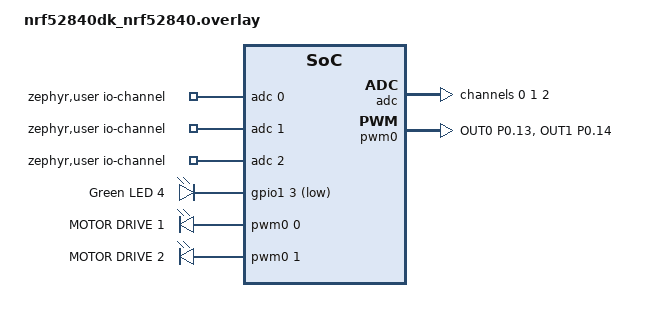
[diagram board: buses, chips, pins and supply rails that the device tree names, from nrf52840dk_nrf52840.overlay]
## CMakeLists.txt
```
# SPDX-License-Identifier: Apache-2.0

cmake_minimum_required(VERSION 3.20.0)

find_package(Zephyr REQUIRED HINTS $ENV{ZEPHYR_BASE})
project(hello_world)

target_sources(app PRIVATE src/main.c src/bt.c)
```

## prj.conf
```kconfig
CONFIG_GPIO=y
CONFIG_LOG=y
CONFIG_ADC=y
CONFIG_CBPRINTF_FP_SUPPORT=y
CONFIG_PWM=y
CONFIG_ADC_NRFX_SAADC=y
# BLE
CONFIG_BT=y
CONFIG_BT_PERIPHERAL=y
CONFIG_BT_DEVICE_NAME="Tim_590Final"
CONFIG_BT_DEVICE_APPEARANCE=0
CONFIG_BT_MAX_CONN=1
CONFIG_BT_LL_SOFTDEVICE=y
CONFIG_BT_BAS=y 
CONFIG_BT_SETTINGS=y
CONFIG_SETTINGS_RUNTIME=y
CONFIG_SETTINGS=y
CONFIG_SETTINGS_NONE=y
CONFIG_BT_DIS=y 
CONFIG_BT_DIS_SETTINGS=y
CONFIG_BT_DIS_STR_MAX=25 
CONFIG_BT_DIS_MODEL="Tim_590"
CONFIG_BT_DIS_MANUF="Tim_590"
CONFIG_BT_DIS_SERIAL_NUMBER=y
CONFIG_BT_DIS_SERIAL_NUMBER_STR="0001" 
CONFIG_BT_DIS_FW_REV=y
CONFIG_BT_DIS_FW_REV_STR="0.9.0" 
CONFIG_BT_DIS_HW_REV=y
CONFIG_BT_DIS_HW_REV_STR="0.9.0" 
CONFIG_BT_DIS_SW_REV=y
CONFIG_BT_DIS_SW_REV_STR="0.9.0" 
CONFIG_BT_DIS_PNP=y 
CONFIG_BT_DIS_PNP_VID_SRC=1
CONFIG_BT_DIS_PNP_VID=0x02DF 
```

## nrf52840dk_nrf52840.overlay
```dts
// To get started, press Ctrl+Space (or Option+Esc) to bring up the completion menu and view the available nodes.

// You can also use the buttons in the sidebar to perform actions on nodes.
// Actions currently available include:

// * Enabling / disabling the node
// * Adding the bus to a bus
// * Removing the node
// * Connecting ADC channels

// For more help, browse the DeviceTree documentation at https://docs.zephyrproject.org/latest/guides/dts/index.html
// You can also visit the nRF DeviceTree extension documentation at https://nrfconnect.github.io/vscode-nrf-connect/devicetree/nrfdevicetree.html

/ {
  aliases {
    vbat = &vbat;
    vslow = &vslow;
    vfast = &vfast;
    heartbeat= &led0;
    buzzer= &led1;
    ivdrip= &led2;
    button0= &button0;
    button1= &button1;
    drv1 = &drv1;
    drv2 = &drv2;
  };
  zephyr,user {
    io-channels = <&adc 0>, <&adc 1>, <&adc 2>; // need to "activate" these channels for IO usage
  };
  leds {
    compatible = "gpio-leds";
    led4: led_4 {        
      gpios = <&gpio1 3 GPIO_ACTIVE_LOW>;
      label = "Green LED 4";
    };
  };
  pwm_motor {
    compatible = "pwm-leds";
    drv1: drv_1 {
    pwms = < &pwm0 0 PWM_MSEC(1) PWM_POLARITY_INVERTED>; // 0 - channel
    label = "MOTOR DRIVE 1";
    };
    drv2: drv_2 {
    pwms = < &pwm0 1 PWM_MSEC(1) PWM_POLARITY_INVERTED>; // 1 - channel
    label = "MOTOR DRIVE 2";
    };
  };
};
&adc {
  #address-cells = <1>;
  #size-cells = <0>;

  vslow: channel@0 {
  reg = <0>; // channel number
  zephyr,reference = "ADC_REF_INTERNAL"; // voltage ref for SA (0.6 V)
  zephyr,gain = "ADC_GAIN_4"; // gain factor to scale ref voltage (1/gain)
  zephyr,acquisition-time = <ADC_ACQ_TIME_DEFAULT>;
  zephyr,input-positive = <NRF_SAADC_AIN0>; // P0.02
  zephyr,input-negative = <NRF_SAADC_AIN7>; // P0.31
  zephyr,resolution = <12>; // bit depth
  };
  vfast: channel@1 {
    reg = <1>; // channel number
    zephyr,reference = "ADC_REF_INTERNAL"; // voltage ref for SA (0.6 V)
    zephyr,gain = "ADC_GAIN_4"; // gain factor to scale ref voltage (1/gain)
    zephyr,acquisition-time = <ADC_ACQ_TIME_DEFAULT>;
    zephyr,input-positive = <NRF_SAADC_AIN5>; // P0.29
    zephyr,input-negative = <NRF_SAADC_AIN6>; // P0.30
    zephyr,resolution = <12>; // bit depth
  };
  vbat: channel@2 {
    reg = <2>; // channel number
    zephyr,reference = "ADC_REF_INTERNAL"; // voltage ref for SA (0.6 V)
    zephyr,gain = "ADC_GAIN_1_6"; // gain factor to scale ref voltage (1/gain)
    zephyr,acquisition-time = <ADC_ACQ_TIME_DEFAULT>;
    zephyr,input-positive = <NRF_SAADC_AIN4>; // P0.28
    zephyr,resolution = <12>; // bit depth
  };
  status = "okay"; // enable the ADC
};
&pwm0 {
  compatible = "nordic,nrf-pwm";
  reg = <0x4001c000 0x1000>;
  interrupts = <28 NRF_DEFAULT_IRQ_PRIORITY>;
  status = "okay";
  #pwm-cells = <3>;
  pinctrl-0 = <&pwm0_default>;
  pinctrl-1 = <&pwm0_sleep>;
  pinctrl-names = "default", "sleep";
};
&pinctrl {
  compatible = "nordic,nrf-pinctrl";
  status = "okay";
  pwm0_default: pwm0_default {
    group1 {
      psels = <NRF_PSEL(PWM_OUT0, 0, 13)>, // P0.13, channel 0
      <NRF_PSEL(PWM_OUT1, 0, 14)>; // P0.14, channel 1
      nordic,invert;
    };
  };
  pwm0_sleep: pwm0_sleep {
    group1 {
      psels = <NRF_PSEL(PWM_OUT0, 0, 13)>, // P0.13, channel 0
      <NRF_PSEL(PWM_OUT1, 0, 14)>; // P0.14, channel 1
      low-power-enable;
    };
  };
};
```

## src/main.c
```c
/*
 * Copyright (c) 2016 Intel Corporation
 *
 * SPDX-License-Identifier: Apache-2.0
 */

// load in the Zephyr library
#include <zephyr/kernel.h>
#include <zephyr/device.h>
#include <zephyr/devicetree.h>
#include <zephyr/drivers/gpio.h>
#include <zephyr/logging/log.h>
#include <zephyr/drivers/adc.h>
#include <zephyr/drivers/pwm.h>
#include <nrfx_power.h>
#include <math.h>

#include "bt.h"

LOG_MODULE_REGISTER(finalproject,LOG_LEVEL_DBG);

/* 1000 msec = 1 sec */
#define ONE_HZ 500
#define FIVE_HZ 100
#define ONE_TO_FIVE_DIFF_HZ 400
#define FIVE_TO_TEN_DIFF_HZ 50
#define FIFTY_MV 50
#define ONE_FIFTY_MV 150
#define NUM_MEASUREMENT_PTS 5
#define WINDOW_SIZE 1000
#define ONE_SEC 1000
#define NOMINAL_BATTERY_VOLT_MV 3700
#define TEN_SEC 10000

#define ADC_DT_SPEC_GET_BY_ALIAS(node_id)                    \
{                                                            \
  .dev = DEVICE_DT_GET(DT_PARENT(DT_ALIAS(node_id))),        \
  .channel_id = DT_REG_ADDR(DT_ALIAS(node_id)),              \
  ADC_CHANNEL_CFG_FROM_DT_NODE(DT_ALIAS(node_id))            \
}                                                            \

#define DT_SPEC_AND_COMMA(node_id, prop, idx)                \
	      ADC_DT_SPEC_GET_BY_IDX(node_id, idx),

// define structs based on DT aliases

/* Declarations */


void fixed_hb(struct k_timer *heartbeats);
void button0_pressed(const struct device *dev, struct gpio_callback *cb, uint32_t pins);
void button1_pressed(const struct device *dev, struct gpio_callback *cb, uint32_t pins);
int check_vbus(void);
void on_data_rx(struct bt_conn *conn, const uint8_t *const data, uint16_t len);
void on_connected(struct bt_conn *conn, uint8_t ret);
void on_disconnected(struct bt_conn *conn, uint8_t reason);
void on_notif_changed(enum bt_data_notifications_enabled status);

/* ADC channels (specified in DT overlay) */
static const struct adc_dt_spec adc_vslow = ADC_DT_SPEC_GET_BY_ALIAS(vslow);
static const struct adc_dt_spec adc_vfast = ADC_DT_SPEC_GET_BY_ALIAS(vfast);
static const struct adc_dt_spec adc_vbat = ADC_DT_SPEC_GET_BY_ALIAS(vbat);

/* Bluetooth */
static struct bt_conn *current_conn;

struct bt_conn_cb bluetooth_callbacks = {
  .connected = on_connected,
  .disconnected = on_disconnected,
};
struct bt_remote_srv_cb remote_service_callbacks = {
  .notif_changed = on_notif_changed,
  .data_rx = on_data_rx,
};

/* LEDs */
#define HB_NODE	DT_ALIAS(heartbeat)
static const struct gpio_dt_spec hb = GPIO_DT_SPEC_GET(HB_NODE, gpios);
#define BZ_NODE	DT_ALIAS(buzzer)
static const struct gpio_dt_spec bz = GPIO_DT_SPEC_GET(BZ_NODE, gpios);
#define IV_NODE	DT_ALIAS(ivdrip)
static const struct gpio_dt_spec iv = GPIO_DT_SPEC_GET(IV_NODE, gpios);

/* Buttons */
#define BUTTON0_NODE	DT_ALIAS(button0) 
static const struct gpio_dt_spec butt0 = GPIO_DT_SPEC_GET(BUTTON0_NODE, gpios);
#define BUTTON1_NODE	DT_ALIAS(button1) 
static const struct gpio_dt_spec butt1 = GPIO_DT_SPEC_GET(BUTTON1_NODE, gpios);

/* PWM */
static const struct pwm_dt_spec mtr_drv1 = PWM_DT_SPEC_GET(DT_ALIAS(drv1));
static const struct pwm_dt_spec mtr_drv2 = PWM_DT_SPEC_GET(DT_ALIAS(drv2));

//global variables
static int32_t val_mv_slow = 0;
static int32_t val_mv_fast = 0;
static int32_t val_mv_bat = 0;
static bool usbregstatus;
static uint8_t battery_level;
static uint8_t slow_data[NUM_MEASUREMENT_PTS] = {0};
static uint8_t fast_data[NUM_MEASUREMENT_PTS] = {0};
static int slow_queue[WINDOW_SIZE] = {0};
static int fast_queue[WINDOW_SIZE] = {0};
float slow_rms_window = 0;
float fast_rms_window = 0;

int rms_window_count = 0;
int data_count = 0;
bool full = 0;
int full_inc = 0;


/* Callbacks */
//timer for heartbeat
void fixed_hb(struct k_timer *heartbeats)
{
  gpio_pin_toggle_dt(&iv);
}
K_TIMER_DEFINE(heartbeats, fixed_hb, NULL);

//timer to save 5 sec of RMS data
void collect_data(struct k_timer *collect)
{
    if (data_count > 4) {data_count = 0;}
    if (full == 0){
        slow_data[data_count] = sqrt(slow_rms_window / rms_window_count);
        fast_data[data_count] = sqrt(fast_rms_window / rms_window_count);
        data_count += 1;
      }
      else{
        slow_data[data_count] = sqrt(slow_rms_window /  WINDOW_SIZE);
        fast_data[data_count] = sqrt(fast_rms_window / WINDOW_SIZE);
        data_count += 1;
      }
    // printf("%f ", sqrt(slow_rms_window / WINDOW_SIZE * 2));
    // printf("%f ", sqrt(fast_rms_window / WINDOW_SIZE * 2));
    // for (int i = 0; i < NUM_MEASUREMENT_PTS; i++)
    //   printf("%d - ", slow_data[i]);
}
K_TIMER_DEFINE(collect, collect_data, NULL);

/* Start timer to save 5 sec worth of data for each sinusoidal input*/
void button0_pressed(const struct device *dev, struct gpio_callback *cb, uint32_t pins)
{
  k_timer_start(&collect, K_MSEC(ONE_SEC), K_MSEC(ONE_SEC));  
  data_count = 0;
}
static struct gpio_callback butt0_cb_data;

/* Bluetooh notification that the two data arrays are ready to cellphone*/
void button1_pressed(const struct device *dev, struct gpio_callback *cb, uint32_t pins)
{
    uint8_t merge_data[NUM_MEASUREMENT_PTS*2];
    int i, j;
    // copying array 1 elements into an array
    for (i = 0; i < NUM_MEASUREMENT_PTS; i++) {
        merge_data[i] = slow_data[i];
    }
    // copying array 2 elements into an array
    for (i = 0, j = NUM_MEASUREMENT_PTS;
         j < NUM_MEASUREMENT_PTS*2 && i < NUM_MEASUREMENT_PTS; i++, j++) {
        merge_data[j] = fast_data[i];
    }
  set_compliance_data(merge_data);
  int err;
  // send a notification that "data" is ready to be read...
  err = send_data_notification(current_conn, merge_data, 10);
  if (err) {
    LOG_ERR("Could not send BT notification (err: %d)", err);
  }
  else {
    LOG_INF("BT data transmitted.");
  }
}
static struct gpio_callback butt1_cb_data;

//bluetooth callbacks
void on_data_rx(struct bt_conn *conn, const uint8_t *const data, uint16_t len)
{
  uint8_t temp_str[len+1];
  memcpy(temp_str, data, len);
  temp_str[len] = 0x00; // manually append NULL character at the end
  LOG_INF("BT received data on conn %p. Len: %d", (void *)conn, len);
  LOG_INF("Data: %s", temp_str);
}
void on_connected(struct bt_conn *conn, uint8_t ret)
{
  if (ret) { LOG_ERR("Connection error: %d", ret); }
  LOG_INF("BT connected");
  current_conn = bt_conn_ref(conn);
}
void on_disconnected(struct bt_conn *conn, uint8_t reason)
{
  LOG_INF("BT disconnected (reason: %d)", reason);
  if (current_conn) {
    bt_conn_unref(current_conn);
    current_conn = NULL;
  }
}
void on_notif_changed(enum bt_data_notifications_enabled status)
{
  if (status == BT_DATA_NOTIFICATIONS_ENABLED) {
    LOG_INF("BT notifications enabled");
  }
  else {
    LOG_INF("BT notifications disabled");
  }
}

/* check battery levels */
void check_battery_level(struct k_timer *battery_check_timer) {
  bluetooth_set_battery_level(val_mv_bat, NOMINAL_BATTERY_VOLT_MV);
}
K_TIMER_DEFINE(battery_check_timer, check_battery_level, NULL);

/* check VBUS*/
int check_vbus() {
  /* check for voltage on VBUS (USB-C charging cable attached)
  Returns:
  0 - VBUS not detected
  -1 - VBUS detected (need to kill device function)
  */
  usbregstatus = nrf_power_usbregstatus_vbusdet_get(NRF_POWER);;
  if (usbregstatus) {
    LOG_ERR("VBUS voltage detected. Device cannot be operated while charging.");
    return -1;
  }
  else {
    //LOG_DBG("VBUS voltage checked and not detected.");
  }
  return 0;
}

/* Read ADCs */
int32_t read_adc_val_slow()
{
  /* Read adc channel 0*/
  int16_t buf;
  struct adc_sequence sequence = {
    .buffer = &buf,
    .buffer_size = sizeof(buf), // bytes
  };
  //LOG_INF("Measuring %s (channel %d)... ", adc_vslow.dev->name, adc_vslow.channel_id);
  (void)adc_sequence_init_dt(&adc_vslow, &sequence);
  int ret;
  ret = adc_read(adc_vslow.dev, &sequence);
  if (ret < 0) {
    LOG_ERR("Could not read (%d)", ret);
  } else {
    //LOG_DBG("Raw ADC Buffer: %d", buf);
  }
  int32_t val_mv;
  val_mv = buf;
  ret = adc_raw_to_millivolts_dt(&adc_vslow, &val_mv);
  if (ret < 0) {
    LOG_ERR("Buffer cannot be converted to mV; returning raw buffer value.");
  } else {
    // LOG_INF("AIN0 ADC Value (mV): %d", val_mv);
  }
  return val_mv;
}

int32_t read_adc_val_fast()
{
  /* Read adc channel 1*/
  int16_t buf;
  struct adc_sequence sequence = {
    .buffer = &buf,
    .buffer_size = sizeof(buf), // bytes
  };
  //LOG_INF("Measuring %s (channel %d)... ", adc_vfast.dev->name, adc_vfast.channel_id);
  (void)adc_sequence_init_dt(&adc_vfast, &sequence);
  int ret;
  ret = adc_read(adc_vfast.dev, &sequence);
  if (ret < 0) {
    LOG_ERR("Could not read (%d)", ret);
  } else {
    // LOG_DBG("Raw ADC Buffer: %d", buf);
  }
  int32_t val_mv;
  val_mv = buf;
  ret = adc_raw_to_millivolts_dt(&adc_vfast, &val_mv);
  if (ret < 0) {
    LOG_ERR("Buffer cannot be converted to mV; returning raw buffer value.");
  } else {
    //  LOG_INF("AIN1 ADC Value (mV): %d", val_mv);
  }
  return val_mv;
}

int32_t read_adc_val_bat()
{
  /* Read adc channel 1*/
  int16_t buf;
  struct adc_sequence sequence = {
    .buffer = &buf,
    .buffer_size = sizeof(buf), // bytes
  };
  (void)adc_sequence_init_dt(&adc_vbat, &sequence);
  int ret;
  ret = adc_read(adc_vbat.dev, &sequence);
  if (ret < 0) {
    LOG_ERR("Could not read (%d)", ret);
  } else {
    // LOG_DBG("Raw ADC Buffer: %d", buf);
  }
  int32_t val_mv;
  val_mv = buf;
  ret = adc_raw_to_millivolts_dt(&adc_vbat, &val_mv);
  if (ret < 0) {
    LOG_ERR("Buffer cannot be converted to mV; returning raw buffer value.");
  } else {
    //  LOG_INF("AIN1 ADC Value (mV): %d", val_mv);
  }
  return val_mv;
}

void main(void)
{
  int err;
  /**capture exit or error codes**/
  err = !device_is_ready(adc_vslow.dev);
  if (err){
    LOG_ERR("ADC controller device(s) not ready");
    return -1;
  }

  err = !device_is_ready(butt0.port);
  if (err) {
    LOG_ERR("gpio0 interface not ready.");
    return;
  }

  if (!device_is_ready(mtr_drv1.dev)) {
    LOG_ERR("PWM device %s is not ready.", mtr_drv1.dev->name);
    return -1;
  }

  /* Setup ADCs */
  err = adc_channel_setup_dt(&adc_vslow);
  if (err < 0) {
    LOG_ERR("Could not setup vslow ADC channel (%d)", err);
    return err;
  }

  err = adc_channel_setup_dt(&adc_vfast);
  if (err < 0) {
    LOG_ERR("Could not setup vfast ADC channel (%d)", err);
    return err;
  }

  err = adc_channel_setup_dt(&adc_vbat);
  if (err < 0) {
    LOG_ERR("Could not setup vfast ADC channel (%d)", err);
    return err;
  }

  /* Setup LEDs */
  err = gpio_pin_configure_dt(&hb, GPIO_OUTPUT_LOW);
	if (err < 0) {
		LOG_ERR("Cannot configure heartbeat led");
    return;
	}

  err = gpio_pin_configure_dt(&bz, GPIO_OUTPUT_LOW);
	if (err < 0) {
		LOG_ERR("Cannot configure buzzer led");
    return;
	}

  err = gpio_pin_configure_dt(&iv, GPIO_OUTPUT_LOW);
	if (err < 0) {
		LOG_ERR("Cannot configure ivdrip led");
    return;
	}

  /* Setup buttons */
  err = gpio_pin_configure_dt(&butt0, GPIO_INPUT);
	if (err < 0) {
    LOG_ERR("Cannot configure button0");
		return;
	}

  err = gpio_pin_configure_dt(&butt1, GPIO_INPUT);
	if (err < 0) {
    LOG_ERR("Cannot configure button1");
		return;
	}

  /* Initialize Bluetooth */
  err = bluetooth_init(&bluetooth_callbacks, &remote_service_callbacks);
  if (err) {
    LOG_ERR("BT init failed (err = %d)", err);
  }

  /* Setup callbacks */
  err = gpio_pin_interrupt_configure_dt(&butt0, GPIO_INT_EDGE_TO_ACTIVE );
  if (err < 0) {
    LOG_ERR("Cannot configure button0");
		return;
	}
  gpio_init_callback(&butt0_cb_data, button0_pressed, BIT(butt0.pin));
	gpio_add_callback(butt0.port, &butt0_cb_data);

  err = gpio_pin_interrupt_configure_dt(&butt1, GPIO_INT_EDGE_TO_ACTIVE );
  if (err < 0) {
    LOG_ERR("Cannot configure button1");
		return;
	}
  gpio_init_callback(&butt1_cb_data, button1_pressed, BIT(butt1.pin));
	gpio_add_callback(butt1.port, &butt1_cb_data);

  k_timer_start(&battery_check_timer, K_MSEC(TEN_SEC), K_MSEC(TEN_SEC));

  while (1) {
    //check for vbus
    int err ;
    err = check_vbus();
    if (err) {
      err = pwm_set_pulse_dt(&mtr_drv1, 0); 
      if (err) {
        //LOG_ERR("Could not set motor driver 1 (PWM0)");
      }
      err = pwm_set_pulse_dt(&mtr_drv2, 0);  
      if (err) {
        //LOG_ERR("Could not set motor driver 2 (PWM1)");
      }
      k_timer_start(&heartbeats, K_MSEC(ONE_HZ), K_MSEC(ONE_HZ));
      k_msleep(3*1000); //3 second delay
      k_timer_stop(&heartbeats);
    }
    else{
      /* loop to sample voltage reading and act accordingly */
      gpio_pin_set_dt(&iv, 0);
      //read voltage of channel 0 and 1
      val_mv_slow = read_adc_val_slow();
      val_mv_fast = read_adc_val_fast();
      val_mv_bat = read_adc_val_bat();
      
      /* implement RMS sliding window */

      if (rms_window_count > (WINDOW_SIZE - 1)) { full = 1; }
      if (full == 0){
        slow_rms_window = slow_rms_window + (float) val_mv_slow * val_mv_slow;
        fast_rms_window = fast_rms_window + (float) val_mv_fast * val_mv_fast;
        slow_queue[rms_window_count] = val_mv_slow * val_mv_slow;
        fast_queue[rms_window_count] = val_mv_fast * val_mv_fast;
        rms_window_count += 1;
      }
      else{
        if (full_inc > WINDOW_SIZE-1) { full_inc = 0; }
        slow_rms_window = slow_rms_window - (float) slow_queue[full_inc] + (float) val_mv_slow * val_mv_slow;
        fast_rms_window = fast_rms_window - (float) fast_queue[full_inc] + (float) val_mv_fast * val_mv_fast;
        slow_queue[full_inc] = (float) val_mv_slow * val_mv_slow;
        fast_queue[full_inc] = (float) val_mv_fast * val_mv_fast;
        full_inc += 1;
      }

      if (data_count > 4) {k_timer_stop(&collect);}
      //modulate LED1 brightness based on Vp-p
      err = pwm_set_pulse_dt(&mtr_drv1, mtr_drv1.period * (float) (sqrt(slow_rms_window / (float) WINDOW_SIZE * 2) - 5) / (FIFTY_MV - 5)); // % duty cycle based on Pk-to-pk voltage
      if (err) {
        //LOG_ERR("Could not set motor driver 1 (PWM0)");
      }

      //modulate LED2 brightness based on Vp-p
      err = pwm_set_pulse_dt(&mtr_drv2, mtr_drv2.period * (float) (sqrt(fast_rms_window/ (float) WINDOW_SIZE * 2) - 10) / (ONE_FIFTY_MV - 10)); // % duty cycle based on Pk-to-pk voltage
      if (err) {
        //LOG_ERR("Could not set motor driver 2 (PWM1)");
      }

      k_msleep(1); //1 msecond sampling
    }
	}
}
```

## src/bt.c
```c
#include "bt.h"

LOG_MODULE_REGISTER(bt,LOG_LEVEL_DBG);

static K_SEM_DEFINE(bt_init_ok, 1, 1); // blocking thread semaphore

#define DEVICE_NAME CONFIG_BT_DEVICE_NAME
#define DEVICE_NAME_LEN (sizeof(DEVICE_NAME)-1)
#define BLE_DATA_POINTS 10 // limited by MTU

static uint8_t compliance_data[BLE_DATA_POINTS] = {0};
static struct bt_remote_srv_cb remote_service_callbacks;
enum bt_data_notifications_enabled notifications_enabled;

/* Advertising data */
static const struct bt_data ad[] = {
  BT_DATA_BYTES(BT_DATA_FLAGS, (BT_LE_AD_GENERAL | BT_LE_AD_NO_BREDR)),
  BT_DATA(BT_DATA_NAME_COMPLETE, DEVICE_NAME, DEVICE_NAME_LEN)
};
/* Scan response data */
static const struct bt_data sd[] = {
  BT_DATA_BYTES(BT_DATA_UUID128_ALL, BT_UUID_REMOTE_SERV_VAL),
};

/* Declarations */
static ssize_t read_data_cb(struct bt_conn *conn, const struct bt_gatt_attr *attr, void *buf, uint16_t len, uint16_t offset);
void data_ccc_cfg_changed_cb(const struct bt_gatt_attr *attr, uint16_t value);
static ssize_t on_write(struct bt_conn *conn, const struct bt_gatt_attr *attr, const void *buf, uint16_t len, uint16_t offset, uint8_t flags);
void bluetooth_set_battery_level(int level, int nominal_batt_mv);
uint8_t bluetooth_get_battery_level(void);

/* Setup services */
BT_GATT_SERVICE_DEFINE(remote_srv,
    BT_GATT_PRIMARY_SERVICE(BT_UUID_REMOTE_SERVICE),
	    BT_GATT_CHARACTERISTIC(BT_UUID_REMOTE_DATA_CHRC,
					BT_GATT_CHRC_READ | BT_GATT_CHRC_NOTIFY,
					BT_GATT_PERM_READ,
					read_data_cb, NULL, NULL),
	BT_GATT_CCC(data_ccc_cfg_changed_cb, BT_GATT_PERM_READ | BT_GATT_PERM_WRITE),
	BT_GATT_CHARACTERISTIC(BT_UUID_REMOTE_MESSAGE_CHRC,
					BT_GATT_CHRC_WRITE_WITHOUT_RESP,
					BT_GATT_PERM_WRITE,
					NULL, on_write, NULL),
);

/* Callbacks */
void data_ccc_cfg_changed_cb(const struct bt_gatt_attr *attr, uint16_t value)
{
	bool notif_enabled = (value == BT_GATT_CCC_NOTIFY);
	LOG_INF("Notifications: %s", notif_enabled? "enabled":"disabled");

	notifications_enabled = notif_enabled? BT_DATA_NOTIFICATIONS_ENABLED:BT_DATA_NOTIFICATIONS_DISABLED;

	if (remote_service_callbacks.notif_changed) {
		remote_service_callbacks.notif_changed(notifications_enabled);
	}
}

static ssize_t read_data_cb(struct bt_conn *conn, const struct bt_gatt_attr *attr, void *buf, uint16_t len, uint16_t offset)
{
	return bt_gatt_attr_read(conn, attr, buf, len, offset, &compliance_data, sizeof(compliance_data));
}

static ssize_t on_write(struct bt_conn *conn, const struct bt_gatt_attr *attr, const void *buf, uint16_t len, uint16_t offset, uint8_t flags)
{
	LOG_INF("Received data, handle %d, conn %p", attr->handle, (void *)conn);
	
	if (remote_service_callbacks.data_rx) {
		remote_service_callbacks.data_rx(conn, buf, len);
	}
	return len;
}


void on_sent(struct bt_conn *conn, void *user_data)
{
	ARG_UNUSED(user_data);
	LOG_INF("Notification sent on connection %p", (void *)conn);
}

void bt_ready(int ret)
{
	if (ret) {
		LOG_ERR("bt_enable returned %d", ret);
	}
	// release the thread once initialized
	k_sem_give(&bt_init_ok);
}

int send_data_notification(struct bt_conn *conn, uint8_t *value, uint16_t length)
{
	int ret = 0;

	struct bt_gatt_notify_params params = {0};
	const struct bt_gatt_attr *attr = &remote_srv.attrs[2];

	params.attr = attr;
	params.data = &compliance_data;
	params.len = length;
	params.func = on_sent;

	ret = bt_gatt_notify_cb(conn, &params);

	return ret;
}

int bluetooth_init(struct bt_conn_cb *bt_cb, struct bt_remote_srv_cb *remote_cb)
{
	int ret;

	LOG_INF("Initializing Bluetooth");

	if ((bt_cb == NULL) | (remote_cb == NULL)) {
		return -NRFX_ERROR_NULL;
	}
	bt_conn_cb_register(bt_cb);
	remote_service_callbacks.notif_changed = remote_cb->notif_changed;
	remote_service_callbacks.data_rx = remote_cb->data_rx;

	ret = bt_enable(bt_ready);
	if (ret) {
		LOG_ERR("bt_enable returned %d", ret);
		return ret;
	}

	// hold the thread until Bluetooth is initialized
	k_sem_take(&bt_init_ok, K_FOREVER);

	if (IS_ENABLED(CONFIG_BT_SETTINGS)) {
		settings_load();
	}

	ret = bt_le_adv_start(BT_LE_ADV_CONN, ad, ARRAY_SIZE(ad), sd, ARRAY_SIZE(sd));
	if (ret) {
		LOG_ERR("Could not start advertising (ret = %d)", ret);
		return ret;
	}

	return ret;
}

void set_compliance_data(uint8_t *mic_data)
{
	memcpy(compliance_data, mic_data, sizeof(compliance_data));
	LOG_DBG("Compliance data set via memcpy (size = %d).", sizeof(compliance_data));
}

uint8_t bluetooth_get_battery_level(void) 
{
	uint8_t battery_level;

	battery_level =  bt_bas_get_battery_level();
	LOG_INF("Battery Level: %d pct", battery_level);

	return battery_level;
}

void bluetooth_set_battery_level(int level, int nominal_batt_mv)
{
	int err;
	float normalized_level;
	
	//LOG_DBG("Raw Battery Level: %d", level);

	normalized_level = (float)level*100.0/(float)nominal_batt_mv;
	
	//LOG_INF("Normalized Battery Level: %f", normalized_level);

	err = bt_bas_set_battery_level((int)normalized_level);
	if (err) {
		LOG_ERR("BAS set error (err = %d)", err);
	}
}
```

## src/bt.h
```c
#include <zephyr/kernel.h>
#include <zephyr/device.h>
#include <zephyr/logging/log.h>

#include <zephyr/bluetooth/bluetooth.h>
#include <zephyr/bluetooth/uuid.h>
#include <zephyr/bluetooth/gatt.h>
#include <zephyr/bluetooth/hci.h> // host controller interface
#include <zephyr/bluetooth/services/bas.h> // battery service GATT
#include <zephyr/settings/settings.h>

/* Bluetooth */
/* UUID of the Remote Service */
// Project ID: 065 (3rd entry)
// MFG ID = 0x02DF (4th entry)
#define BT_UUID_REMOTE_SERV_VAL \
        BT_UUID_128_ENCODE(0xe9ea0000, 0xe19b, 0x0065, 0x02DF, 0xc7907585fc48)
/* UUID of the Data Characteristic */
#define BT_UUID_REMOTE_DATA_CHRC_VAL \
        BT_UUID_128_ENCODE(0xe9ea0001, 0xe19b, 0x0065, 0x02DF, 0xc7907585fc48)
/* UUID of the Message Characteristic */
#define BT_UUID_REMOTE_MESSAGE_CHRC_VAL \
        BT_UUID_128_ENCODE(0xe9ea0002, 0xe19b, 0x0065, 0x02DF, 0xc7907585fc48)
#define BT_UUID_REMOTE_SERVICE 			BT_UUID_DECLARE_128(BT_UUID_REMOTE_SERV_VAL)
#define BT_UUID_REMOTE_DATA_CHRC 		BT_UUID_DECLARE_128(BT_UUID_REMOTE_DATA_CHRC_VAL)
#define BT_UUID_REMOTE_MESSAGE_CHRC 	BT_UUID_DECLARE_128(BT_UUID_REMOTE_MESSAGE_CHRC_VAL)

// capture notifications state
enum bt_data_notifications_enabled {
  BT_DATA_NOTIFICATIONS_ENABLED,
  BT_DATA_NOTIFICATIONS_DISABLED,
};

// create a struct of all BLE callbacks
struct bt_remote_srv_cb {
  void (*notif_changed)(enum bt_data_notifications_enabled status);
  void (*data_rx)(struct bt_conn *conn, const uint8_t *const data, uint16_t len);
};
```
